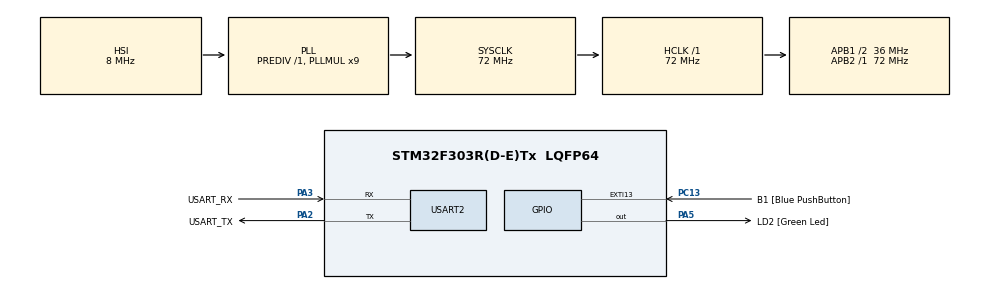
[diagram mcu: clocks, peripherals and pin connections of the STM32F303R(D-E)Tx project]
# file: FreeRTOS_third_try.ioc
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Mcu.Family=STM32F3
Mcu.Name=STM32F303R(D-E)Tx
Mcu.Package=LQFP64
NVIC.PriorityGroup=NVIC_PRIORITYGROUP_0
PA13.GPIO_Label=TMS
PA13.Mode=Serial_Wire
PA13.Signal=SYS_JTMS-SWDIO
PA14.GPIO_Label=TCK
PA14.Mode=Serial_Wire
PA14.Signal=SYS_JTCK-SWCLK
PA2.GPIO_Label=USART_TX
PA2.GPIO_Mode=GPIO_MODE_AF_PP
PA2.GPIO_PuPd=GPIO_NOPULL
PA2.GPIO_Speed=GPIO_SPEED_FREQ_LOW
PA2.Mode=Asynchronous
PA2.Signal=USART2_TX
PA3.GPIO_Label=USART_RX
PA3.GPIO_Mode=GPIO_MODE_AF_PP
PA3.GPIO_PuPd=GPIO_NOPULL
PA3.GPIO_Speed=GPIO_SPEED_FREQ_LOW
PA3.Mode=Asynchronous
PA3.Signal=USART2_RX
PA5.GPIO_Label=LD2 [Green Led]
PA5.GPIO_Mode=GPIO_MODE_OUTPUT_PP
PA5.GPIO_PuPd=GPIO_NOPULL
PA5.GPIO_Speed=GPIO_SPEED_FREQ_LOW
PA5.Signal=GPIO_Output
PB3.GPIO_Label=SWO
PB3.Signal=SYS_JTDO-TRACESWO
PC13.GPIO_Label=B1 [Blue PushButton]
PC13.GPIO_ModeDefaultEXTI=GPIO_MODE_IT_FALLING
PC13.Signal=GPXTI13
PC14-OSC32_IN.Mode=LSE-External-Oscillator
PC14-OSC32_IN.Signal=RCC_OSC32_IN
PC15-OSC32_OUT.Mode=LSE-External-Oscillator
PC15-OSC32_OUT.Signal=RCC_OSC32_OUT
PF0-OSC_IN.Mode=HSE-External-Clock-Source
PF0-OSC_IN.Signal=RCC_OSC_IN
PF1-OSC_OUT.Signal=RCC_OSC_OUT
ProjectManager.HeapSize=0x600
ProjectManager.StackSize=0x800
ProjectManager.TargetToolchain=STM32CubeIDE
RCC.AHBFreq_Value=72000000
RCC.APB1CLKDivider=RCC_HCLK_DIV2
RCC.APB1Freq_Value=36000000
RCC.APB1TimFreq_Value=72000000
RCC.APB2Freq_Value=72000000
RCC.APB2TimFreq_Value=72000000
RCC.CortexFreq_Value=72000000
RCC.HCLKFreq_Value=72000000
RCC.HSE_VALUE=8000000
RCC.HSI_VALUE=8000000
RCC.PLLM=8
RCC.PLLMUL=RCC_PLL_MUL9
RCC.PLLN=336
RCC.PLLP=RCC_PLLP_DIV4
RCC.PLLQ=7
RCC.RCC_PLLsource_Clock_Source_FROM_HSE=RCC_HSE_PREDIV_DIV2
RCC.SYSCLKFreq_VALUE=72000000
RCC.SYSCLKSourceVirtual=RCC_SYSCLKSOURCE_PLLCLK
RCC.USBFreq_Value=72000000
USART2.VirtualMode-Asynchronous=VM_ASYNC
board=NUCLEO-F303RE

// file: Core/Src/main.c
/* USER CODE BEGIN Header */
/**
  ******************************************************************************
  * @file           : main.c
  * @brief          : Main program body
  ******************************************************************************
  * @attention
  *
  * Copyright (c) 2025 STMicroelectronics.
  * All rights reserved.
  *
  * This software is licensed under terms that can be found in the LICENSE file
  * in the root directory of this software component.
  * If no LICENSE file comes with this software, it is provided AS-IS.
  *
  ******************************************************************************
  */
/* USER CODE END Header */
#include "main.h"

/* USER CODE BEGIN Includes */

	#include "stm32f3xx_it.h"
	#include "ssd1306.h"
	#include "ssd1306_fonts.h"
	#include "bitmaps.h"
	#include "lvgl.h"
	#include "MISC.h"

#ifdef FREERTOS_ON
	#include "FreeRTOS.h"
	#include "task.h"
	#include "queue.h"
	#include "semphr.h"
	#include "CB_general.h"
	#include "MISC.h"
	#include "CLI_commands.h"
#endif

/* USER CODE END Includes */

I2C_HandleTypeDef hi2c1;
SPI_HandleTypeDef hspi2;
UART_HandleTypeDef huart2;
QueueHandle_t     xRxQueue;         // Handle for the queue that receives chars from the ISR
SemaphoreHandle_t xUartMutex;

/* USER CODE BEGIN PV */
TIM_HandleTypeDef htim6;
#ifdef FREERTOS_ON
	QueueHandle_t xQueue1;
	TaskHandle_t xHandleLED;
	TaskHandle_t xHandleQueue;
	extern uint8_t rx_byte;
#endif

/* USER CODE END PV */

void SystemClock_Config(void);
static void MX_GPIO_Init(void);
static void MX_USART2_UART_Init(void);
//static void initI2C(void);
static void initSpi2(void);

/* USER CODE BEGIN 0 */
void vApplicationIdleHook( void );
void vApplicationMallocFailedHook(void);
void ledToggleTask(void *pvParameters);
void queueTestReceive(void *pvParameters);
void initTim6(void);
void HAL_Delay(uint32_t Delay);
void OLED_Task(void *pvParameters);

/* USER CODE END 0 */

int main(void)
{

  /* MCU Configuration--------------------------------------------------------*/

  /* Reset of all peripherals, Initializes the Flash interface and the Systick. */
  HAL_Init();

  /* USER CODE BEGIN Init */
  __HAL_RCC_TIM6_CLK_ENABLE();
  /* USER CODE END Init */

  /* Configure the system clock */
  SystemClock_Config();

  /* USER CODE BEGIN SysInit */
  HAL_SYSTICK_Config(72000);
  /* USER CODE END SysInit */

  /* Initialize all configured peripherals */
  MX_GPIO_Init();
  MX_USART2_UART_Init();
  /* USER CODE BEGIN 2 */

	NVIC_init();			//All the NVIC settings

	initTim6();
	HAL_TIM_Base_Start_IT(&htim6);

#ifdef FREERTOS_ON

	extern const CLI_Command_Definition_t vBlink;
	FreeRTOS_CLIRegisterCommand(&vBlink);

	xQueue1 = xQueueCreate(5, sizeof(uint32_t)); // Create the queue.

//	xTaskCreate(
//		ledToggleTask,      // Task function
//		"LED_Task",         // Task name
//		1024,                 // Stack size in words
//		NULL,               // Parameter
//		1,                  // Priority
//		&xHandleLED                // Task handle
//	);
//
//
//	xTaskCreate(
//		queueTestReceive,      // Task function
//		"Queue receive test",         // Task name
//		1024,                 // Stack size in words
//		NULL,               // Parameter
//		1,                  // Priority
//		&xHandleQueue                // Task handle
//	);
//
//
//
//	xTaskCreate(
//		CLI_read,                      /* Pointer to the task function. */
//		"CLI Task",                    /* Text name for the task. This is to help debugging. */
//		256,                           /* Stack depth in words. (256 * 4 bytes on a 32-bit MCU) */
//		NULL,                          /* We are not passing any parameters to this task. */
//		1,                             /* This task will run at priority 1. */
//		NULL                           /* We are not using the task handle. */
//	);

	xTaskCreate(
	    OLED_Task,
	    "OLED Task",
	    2000,
	    NULL,
	    1,
	    NULL
	);

    vTaskStartScheduler();
#endif

  /* USER CODE END 2 */

  /* Infinite loop */
  while (1)
  {

	  //We will never enter here if RTOS scheduler is running
	  HAL_GPIO_TogglePin(LD2_GPIO_Port, LD2_Pin);
	  HAL_Delay(1000);

  }
}

void SystemClock_Config(void)
{
  RCC_OscInitTypeDef RCC_OscInitStruct = {0};
  RCC_ClkInitTypeDef RCC_ClkInitStruct = {0};
  RCC_PeriphCLKInitTypeDef PeriphClkInit = {0};

  /** Initializes the RCC Oscillators according to the specified parameters
  * in the RCC_OscInitTypeDef structure.
  */
  RCC_OscInitStruct.OscillatorType = RCC_OSCILLATORTYPE_HSI;
  RCC_OscInitStruct.HSIState = RCC_HSI_ON;
  RCC_OscInitStruct.HSICalibrationValue = RCC_HSICALIBRATION_DEFAULT;
  RCC_OscInitStruct.PLL.PLLState = RCC_PLL_ON;
  RCC_OscInitStruct.PLL.PLLSource = RCC_PLLSOURCE_HSI;
  RCC_OscInitStruct.PLL.PLLMUL = RCC_PLL_MUL9;
  RCC_OscInitStruct.PLL.PREDIV = RCC_PREDIV_DIV1;
  if (HAL_RCC_OscConfig(&RCC_OscInitStruct) != HAL_OK)
  {
    Error_Handler();
  }

  /** Initializes the CPU, AHB and APB buses clocks
  */
  RCC_ClkInitStruct.ClockType = RCC_CLOCKTYPE_HCLK|RCC_CLOCKTYPE_SYSCLK
                              |RCC_CLOCKTYPE_PCLK1|RCC_CLOCKTYPE_PCLK2;
  RCC_ClkInitStruct.SYSCLKSource = RCC_SYSCLKSOURCE_PLLCLK;
  RCC_ClkInitStruct.AHBCLKDivider = RCC_SYSCLK_DIV1;
  RCC_ClkInitStruct.APB1CLKDivider = RCC_HCLK_DIV2;
  RCC_ClkInitStruct.APB2CLKDivider = RCC_HCLK_DIV1;

  if (HAL_RCC_ClockConfig(&RCC_ClkInitStruct, FLASH_LATENCY_2) != HAL_OK)
  {
    Error_Handler();
  }
  PeriphClkInit.PeriphClockSelection = RCC_PERIPHCLK_USART2;
  PeriphClkInit.Usart2ClockSelection = RCC_USART2CLKSOURCE_PCLK1;
  if (HAL_RCCEx_PeriphCLKConfig(&PeriphClkInit) != HAL_OK)
  {
    Error_Handler();
  }
}

static void MX_USART2_UART_Init(void)
{

  huart2.Instance = USART2;
  huart2.Init.BaudRate = 115200;
  huart2.Init.WordLength = UART_WORDLENGTH_8B;
  huart2.Init.StopBits = UART_STOPBITS_1;
  huart2.Init.Parity = UART_PARITY_NONE;
  huart2.Init.Mode = UART_MODE_TX_RX;
  huart2.Init.HwFlowCtl = UART_HWCONTROL_NONE;
  huart2.Init.OverSampling = UART_OVERSAMPLING_16;
  huart2.Init.OneBitSampling = UART_ONE_BIT_SAMPLE_DISABLE;
  huart2.AdvancedInit.AdvFeatureInit = UART_ADVFEATURE_NO_INIT;
  if (HAL_UART_Init(&huart2) != HAL_OK)
  {
    Error_Handler();
  }

}

static void MX_GPIO_Init(void)
{
  GPIO_InitTypeDef GPIO_InitStruct = {0};

  /* GPIO Ports Clock Enable */
  __HAL_RCC_GPIOC_CLK_ENABLE();
  __HAL_RCC_GPIOF_CLK_ENABLE();
  __HAL_RCC_GPIOA_CLK_ENABLE();
  __HAL_RCC_GPIOB_CLK_ENABLE();

  /*Configure GPIO pin Output Level */
  HAL_GPIO_WritePin(LD2_GPIO_Port, LD2_Pin, GPIO_PIN_RESET);

  /*Configure GPIO pin : B1_Pin */
  GPIO_InitStruct.Pin = B1_Pin;
  GPIO_InitStruct.Mode = GPIO_MODE_IT_FALLING;
  GPIO_InitStruct.Pull = GPIO_NOPULL;
  HAL_GPIO_Init(B1_GPIO_Port, &GPIO_InitStruct);

  /*Configure GPIO pin : LD2_Pin */
  GPIO_InitStruct.Pin = LD2_Pin;
  GPIO_InitStruct.Mode = GPIO_MODE_OUTPUT_PP;
  GPIO_InitStruct.Pull = GPIO_NOPULL;
  GPIO_InitStruct.Speed = GPIO_SPEED_FREQ_LOW;
  HAL_GPIO_Init(LD2_GPIO_Port, &GPIO_InitStruct);

}

/* USER CODE BEGIN 4 */
void TIM6_DAC_IRQHandler(void)
{
  /* USER CODE BEGIN TIM6_DAC_IRQn 0 */

  /* USER CODE END TIM6_DAC_IRQn 0 */
  HAL_TIM_IRQHandler(&htim6);
  /* USER CODE BEGIN TIM6_DAC_IRQn 1 */

  /* USER CODE END TIM6_DAC_IRQn 1 */
}
void HAL_TIM_PeriodElapsedCallback(TIM_HandleTypeDef *htim)
{
  if (htim->Instance == TIM6) {
    HAL_IncTick(); // This is the crucial line.
    lv_tick_inc(1);
  }
}
void initTim6(void){

	RCC->APB1ENR |= RCC_APB1ENR_TIM6EN;
	//__HAL_RCC_TIM6_CLK_ENABLE(); 				//stm32f3xx_hal_tim.h"

	htim6.Instance = TIM6;
	htim6.Init.Prescaler = 71;
	htim6.Init.Period = 999;
	htim6.Init.CounterMode = TIM_COUNTERMODE_UP;
	htim6.Init.AutoReloadPreload = TIM_AUTORELOAD_PRELOAD_DISABLE;
	if (HAL_TIM_Base_Init(&htim6) != HAL_OK)
	  {
	    Error_Handler();
	  }

}
#ifdef FREERTOS_ON
void vApplicationStackOverflowHook( TaskHandle_t xTask, char * pcTaskName ){
	for( ; ; ){

		}
}
void vApplicationMallocFailedHook(void)
{
   // This function is called if a malloc fails inside FreeRTOS.
   // Put a breakpoint here.
   while(1);
}
void vApplicationIdleHook(){
//	for( ; ; ){			//CRITICAL CHANGE! THIS PREVENTED ME FROM ENTERING TICKLESS IDLE!
//
//		__NOP();
//	}
}
#endif
void ledToggleTask(void *pvParameters)
{
	uint32_t ulQueueSend = 0;

  for(;;)
  {
    // 1. Toggle the user LED
    //vTaskDelay(pdMS_TO_TICKS(500));
	  HAL_GPIO_TogglePin(LD2_GPIO_Port, LD2_Pin);

	  /*Check HAL_Delay*/
//	  HAL_Delay(100);
//	  HAL_GPIO_TogglePin(LD2_GPIO_Port, LD2_Pin);
//	  HAL_Delay(100);
//	  HAL_GPIO_TogglePin(LD2_GPIO_Port, LD2_Pin);
	  /*Check HAL_Delay end*/

	  uint32_t tickCount = HAL_GetTick();
	  uint8_t debugString[64];
	  sprintf((char *)debugString, "Toggle happened. Tick count %lu\r\n", tickCount);
	  HAL_UART_Transmit(&huart2, debugString, strlen((char *)debugString), 5);
	  ulQueueSend = !ulQueueSend;

#ifdef FREERTOS_ON
	  if(xQueueSend(xQueue1, &ulQueueSend, 0) != pdPASS) {
		  HAL_UART_Transmit(&huart2, (const uint8_t *)"Queue full.\r\n", strlen("Queue full.\r\n"), 5);
	  }

	  vTaskDelay(pdMS_TO_TICKS(1000));
#endif
  }
}

//static void initI2C(void){
//	hi2c1.Instance = I2C1;
//	hi2c1.Init.Timing = 0x80421313; // 100 kHz
//	hi2c1.Init.OwnAddress1 = 0;
//	hi2c1.Init.AddressingMode = I2C_ADDRESSINGMODE_7BIT;
//	hi2c1.Init.DualAddressMode = I2C_DUALADDRESS_DISABLE;
//	hi2c1.Init.OwnAddress2 = 0;
//	hi2c1.Init.OwnAddress2Masks = I2C_OA2_NOMASK;
//	hi2c1.Init.GeneralCallMode = I2C_GENERALCALL_DISABLE;
//	hi2c1.Init.NoStretchMode = I2C_NOSTRETCH_DISABLE;
//
//	if(HAL_I2C_Init(&hi2c1) != HAL_OK){
//		Error_Handler();
//	}
//}

static void initSpi2(void)
{
    GPIO_InitTypeDef GPIO_InitStruct = {0};

    // 1. Enable Clocks
    __HAL_RCC_SPI2_CLK_ENABLE(); // Changed from SPI1
    __HAL_RCC_GPIOA_CLK_ENABLE();
    __HAL_RCC_GPIOB_CLK_ENABLE();

    // 2. Configure GPIOs
    // CS, DC, and RES pins remain unchanged
    GPIO_InitStruct.Pin = GPIO_PIN_4; // PA4: CS
    GPIO_InitStruct.Mode = GPIO_MODE_OUTPUT_PP;
    GPIO_InitStruct.Pull = GPIO_NOPULL;
    GPIO_InitStruct.Speed = GPIO_SPEED_FREQ_LOW;
    HAL_GPIO_Init(GPIOA, &GPIO_InitStruct);

    GPIO_InitStruct.Pin = GPIO_PIN_0 | GPIO_PIN_1; // PB0 (DC) & PB1 (RES)
    HAL_GPIO_Init(GPIOB, &GPIO_InitStruct);

    // New SPI2 pins on Port B
    GPIO_InitStruct.Pin = GPIO_PIN_13 | GPIO_PIN_15; // PB13 (SCK) & PB15 (MOSI)
    GPIO_InitStruct.Mode = GPIO_MODE_AF_PP;
    GPIO_InitStruct.Speed = GPIO_SPEED_FREQ_HIGH;
    GPIO_InitStruct.Alternate = GPIO_AF5_SPI2;
    HAL_GPIO_Init(GPIOB, &GPIO_InitStruct);

    // 3. Configure SPI2 Peripheral
    hspi2.Instance = SPI2; // Changed from SPI1
    hspi2.Init.Mode = SPI_MODE_MASTER;
    hspi2.Init.Direction = SPI_DIRECTION_2LINES;
    hspi2.Init.DataSize = SPI_DATASIZE_8BIT;
    hspi2.Init.CLKPolarity = SPI_POLARITY_LOW;
    hspi2.Init.CLKPhase = SPI_PHASE_1EDGE;
    hspi2.Init.NSS = SPI_NSS_SOFT;
    hspi2.Init.BaudRatePrescaler = SPI_BAUDRATEPRESCALER_8;
    hspi2.Init.FirstBit = SPI_FIRSTBIT_MSB;
    hspi2.Init.TIMode = SPI_TIMODE_DISABLE;
    hspi2.Init.CRCCalculation = SPI_CRCCALCULATION_DISABLE;
    hspi2.Init.CRCPolynomial = 7;
    if (HAL_SPI_Init(&hspi2) != HAL_OK)
    {
        Error_Handler();
    }

    // 4. Initialize Display Driver
    ssd1306_Init();
}
#ifdef FREERTOS_ON
void queueTestReceive(void *pvParameters)
{
	uint32_t ulReceivedValue;
  for(;;)
  {
	  uint8_t debugString[64];
	  if(xQueueReceive(xQueue1, &ulReceivedValue, portMAX_DELAY) == pdPASS){
		  sprintf((char *)debugString, "Received from Queue1: %ld\r\n", ulReceivedValue);
		  HAL_UART_Transmit(&huart2, debugString, strlen((char *)debugString), 5);
		  }

	  __NOP();

	  //vTaskSuspend(xHandleQueue);
	  vTaskDelay(pdMS_TO_TICKS(1000));
  }
}
#endif

void OLED_Task(void *pvParameters) {

	initSpi2();

	// Initialize LVGL and its drivers
	lv_init();

	static lv_color_t buf_1[128 * 8];

	// Initialize LVGL

	lv_init();

	lv_display_t *disp = lv_display_create(128, 64);

	// Set the buffer and flush callback

	lv_display_set_buffers(disp, buf_1, NULL, sizeof(buf_1), LV_DISPLAY_RENDER_MODE_PARTIAL);
	lv_display_set_flush_cb(disp, my_disp_flush);

	// --- Create UI elements ---
	// Pointers to UI elements can be normal local variables if you don't need to access them later in the loop.

	lv_obj_t *label = lv_label_create(lv_screen_active());
	lv_label_set_text(label, "Hello RTOS!");
	lv_obj_center(label);

    for (;;) {

		// Let LVGL handle its tasks, animations, etc.
		lv_timer_handler();

		// Wait for a defined period. This allows other tasks to run.
		vTaskDelay(pdMS_TO_TICKS(10));

//		// Draw the bitmap at the top-left corner (0,0)
//        ssd1306_Fill(Black);
//		ssd1306_DrawBitmap(0, 0, white_noise_128x64_1, 128, 64, White);
//
//		// Send the buffer to the physical screen
//		ssd1306_UpdateScreen();
//		vTaskDelay(pdMS_TO_TICKS(1000));

//        ssd1306_SetCursor(2, 0);
//        ssd1306_WriteString("FreeRTOS Demo", Font_6x8, White);
//
//        ssd1306_SetCursor(0, 35);
//        sprintf(counterStr, "Uptime: %lu s", counter++);
//        ssd1306_WriteString(counterStr, Font_6x8, White);

//        ssd1306_UpdateScreen();
//        vTaskDelay(pdMS_TO_TICKS(1000));
    }
}

/* USER CODE END 4 */

void Error_Handler(void)
{
  __disable_irq();
  while (1)
  {
  }
}
